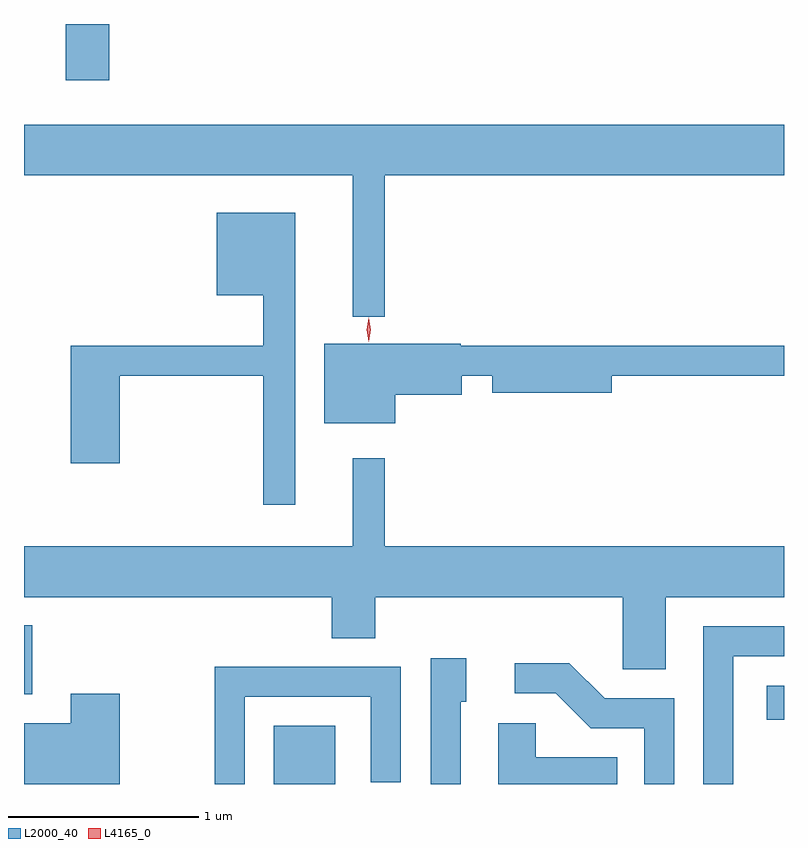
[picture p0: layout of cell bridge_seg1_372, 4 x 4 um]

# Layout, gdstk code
import gdstk
lib = gdstk.Library(unit=1e-6, precision=1e-09)
def R(c, l, rs):  # rectangles x0, y0, x1, y1
    for r in rs: c.add(gdstk.rectangle(r[:2], r[2:], *l))
def P(c, l, *ps):  # polygons
    for p in ps: c.add(gdstk.Polygon(p, *l))
L2000_40 = (2000, 40)
L4165_0 = (4165, 0)

bridge_seg1_372 = lib.new_cell('bridge_seg1_372')
R(bridge_seg1_372, L2000_40, [(1003.696,849.753,1004.019,850.059), (1006.291,850.091,1006.381,850.269), (1002.381,850.226,1002.424,850.588), (1002.601,853.456,1002.829,853.753)])
P(bridge_seg1_372, L2000_40, [(1004.279,852.956),(1006.381,852.956),(1006.381,853.224),(1002.381,853.224),(1002.381,852.956),(1004.111,852.956),(1004.111,852.213),(1004.279,852.213)],
  [(1003.809,852.759),(1003.396,852.759),(1003.396,852.326),(1003.641,852.326),(1003.641,852.059),(1002.626,852.059),(1002.626,851.441),(1002.884,851.441),(1002.884,851.901),(1003.641,851.901),(1003.641,851.223),(1003.809,851.223)],
  [(1004.334,851.801),(1004.684,851.801),(1004.684,851.901),(1004.846,851.901),(1004.846,851.811),(1005.474,851.811),(1005.474,851.901),(1006.381,851.901),(1006.381,852.059),(1004.68,852.059),(1004.68,852.069),(1003.961,852.069),(1003.961,851.651),(1004.334,851.651)],
  [(1004.279,851.468),(1004.111,851.468),(1004.111,851.004),(1002.381,851.004),(1002.381,850.736),(1004.001,850.736),(1004.001,850.521),(1004.229,850.521),(1004.229,850.736),(1005.531,850.736),(1005.531,850.356),(1005.759,850.356),(1005.759,850.736),(1006.381,850.736),(1006.381,851.004),(1004.279,851.004)],
  [(1006.114,850.426),(1006.381,850.426),(1006.381,850.584),(1005.956,850.584),(1005.956,849.753),(1006.114,849.753)],
  [(1004.679,850.186),(1004.709,850.186),(1004.709,850.414),(1004.521,850.414),(1004.521,849.753),(1004.679,849.753)],
  [(1005.804,850.204),(1005.437,850.204),(1005.252,850.389),(1004.963,850.389),(1004.963,850.231),(1005.179,850.231),(1005.364,850.046),(1005.646,850.046),(1005.646,849.753),(1005.804,849.753)],
  [(1003.544,850.211),(1004.206,850.211),(1004.206,849.763),(1004.364,849.763),(1004.364,850.369),(1003.386,850.369),(1003.386,849.753),(1003.544,849.753)],
  [(1002.884,850.229),(1002.626,850.229),(1002.626,850.074),(1002.381,850.074),(1002.381,849.753),(1002.884,849.753)],
  [(1005.503,849.894),(1005.074,849.894),(1005.074,850.074),(1004.876,850.074),(1004.876,849.753),(1005.503,849.753)])
P(bridge_seg1_372, L4165_0, [(1004.196,852.08),(1004.195,852.081),(1004.186,852.143),(1004.195,852.206),(1004.195,852.207),(1004.196,852.206),(1004.205,852.143),(1004.196,852.081)])

lib.write_gds('bridge_seg1_372.gds')
